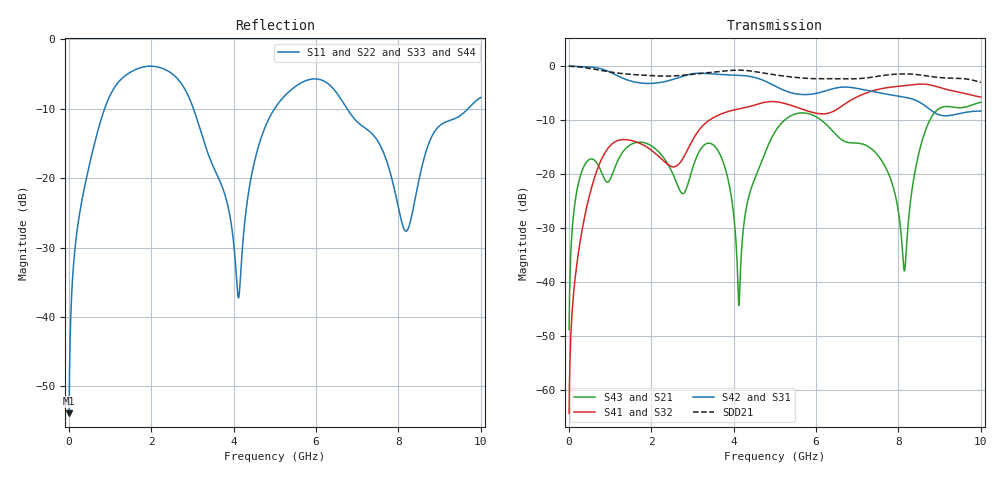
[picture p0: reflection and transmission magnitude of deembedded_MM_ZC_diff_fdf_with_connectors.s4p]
# GHz S MA R 50
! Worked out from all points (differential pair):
!   1000 points, 10 MHz to 10 GHz, reference 50 ohm
!   strongest paths, dB at 10 MHz, 2.51 GHz, 5.01 GHz, 7.51 GHz, 10 GHz:
!     S42: 0.0, -2.5, -3.7, -4.9, -8.3
!     S31: 0.0, -2.5, -3.7, -4.9, -8.3
!     S41: -64.3, -18.6, -6.6, -4.3, -5.7
!     S32: -64.3, -18.6, -6.6, -4.3, -5.7
!     S43: -48.8, -19.7, -12.1, -16.6, -6.7
!     S21: -48.8, -19.7, -12.1, -16.6, -6.7
!   taken as a pair (ports 2,1 in; 4,3 out), SDD21 dB: 0.0, -1.8, -1.6, -1.9, -3.0
!   lowest |S11| = -53.9 dB at 10 MHz (marker M1), VSWR 1.00, Z = 50 - j0.202 ohm
!   |S11| at or under -10 dB: start of sweep to 870.3 MHz; 3.027 GHz to 4.992 GHz (1.965 GHz wide, 49 % of centre); 6.756 GHz to 9.683 GHz (2.928 GHz wide, 35.6 % of centre)
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0.01  0.002024 -92.3  0.003649 87.3  0.9995 -1.4  0.0006125 -86.8
      0.003649 87.3  0.002024 -92.3  0.0006125 -86.8  0.9995 -1.4
      0.9995 -1.4  0.0006125 -86.8  0.002024 -92.3  0.003649 87.3
      0.0006125 -86.8  0.9995 -1.4  0.003649 87.3  0.002024 -92.3
1.09  0.4411 113.9  0.1074 32.8  0.8488 -154.7  0.1957 114.6
      0.1074 32.8  0.4411 113.9  0.1957 114.6  0.8488 -154.7
      0.8488 -154.7  0.1957 114.6  0.4411 113.9  0.1074 32.8
      0.1957 114.6  0.8488 -154.7  0.1074 32.8  0.4411 113.9
2.83  0.4322 -90.8  0.06988 158.9  0.8204 -3.7  0.1537 -90.8
      0.06988 158.9  0.4322 -90.8  0.1537 -90.8  0.8204 -3.7
      0.8204 -3.7  0.1537 -90.8  0.4322 -90.8  0.06988 158.9
      0.1537 -90.8  0.8204 -3.7  0.06988 158.9  0.4322 -90.8
4.04  0.02557 159.7  0.02958 -51.8  0.826 -174.5  0.3956 95.3
      0.02958 -51.8  0.02557 159.7  0.3956 95.3  0.826 -174.5
      0.826 -174.5  0.3956 95.3  0.02557 159.7  0.02958 -51.8
      0.3956 95.3  0.826 -174.5  0.02958 -51.8  0.02557 159.7
5.3  0.4089 86.6  0.3308 21.4  0.5826 13.4  0.4453 -88.4
     0.3308 21.4  0.4089 86.6  0.4453 -88.4  0.5826 13.4
     0.5826 13.4  0.4453 -88.4  0.4089 86.6  0.3308 21.4
     0.4453 -88.4  0.5826 13.4  0.3308 21.4  0.4089 86.6
8.14  0.04279 -148.1  0.01272 -132.5  0.5177 -3.2  0.6595 -94.4
      0.01272 -132.5  0.04279 -148.1  0.6595 -94.4  0.5177 -3.2
      0.5177 -3.2  0.6595 -94.4  0.04279 -148.1  0.01272 -132.5
      0.6595 -94.4  0.5177 -3.2  0.01272 -132.5  0.04279 -148.1
10  0.3819 0.3  0.4627 -63.1  0.3839 117.3  0.5174 14.7
    0.4627 -63.1  0.3819 0.3  0.5174 14.7  0.3839 117.3
    0.3839 117.3  0.5174 14.7  0.3819 0.3  0.4627 -63.1
    0.5174 14.7  0.3839 117.3  0.4627 -63.1  0.3819 0.3
